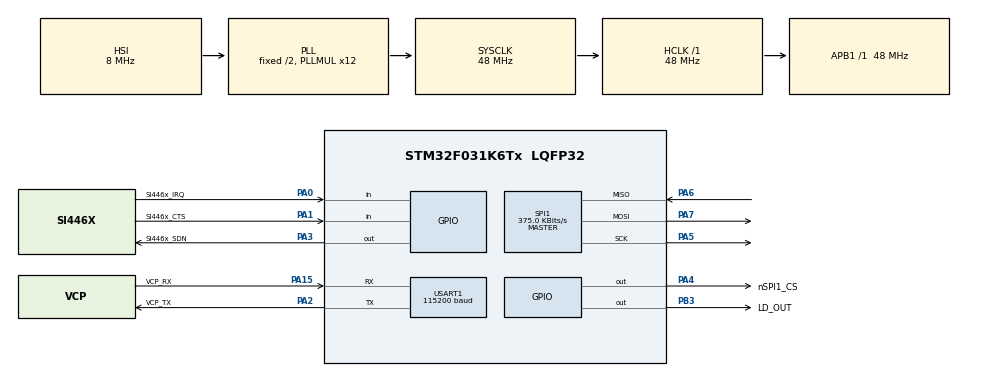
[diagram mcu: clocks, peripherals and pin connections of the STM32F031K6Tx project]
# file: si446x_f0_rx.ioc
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Dma.Request0=SPI1_RX
Dma.Request1=SPI1_TX
Dma.SPI1_RX.0.Direction=DMA_PERIPH_TO_MEMORY
Dma.SPI1_RX.0.Instance=DMA1_Channel2
Dma.SPI1_RX.0.MemDataAlignment=DMA_MDATAALIGN_BYTE
Dma.SPI1_RX.0.MemInc=DMA_MINC_ENABLE
Dma.SPI1_RX.0.Mode=DMA_NORMAL
Dma.SPI1_RX.0.PeriphDataAlignment=DMA_PDATAALIGN_BYTE
Dma.SPI1_RX.0.PeriphInc=DMA_PINC_DISABLE
Dma.SPI1_RX.0.Priority=DMA_PRIORITY_LOW
Dma.SPI1_TX.1.Direction=DMA_MEMORY_TO_PERIPH
Dma.SPI1_TX.1.Instance=DMA1_Channel3
Dma.SPI1_TX.1.MemDataAlignment=DMA_MDATAALIGN_BYTE
Dma.SPI1_TX.1.MemInc=DMA_MINC_ENABLE
Dma.SPI1_TX.1.Mode=DMA_NORMAL
Dma.SPI1_TX.1.PeriphDataAlignment=DMA_PDATAALIGN_BYTE
Dma.SPI1_TX.1.PeriphInc=DMA_PINC_DISABLE
Dma.SPI1_TX.1.Priority=DMA_PRIORITY_LOW
Mcu.Family=STM32F0
Mcu.Name=STM32F031K6Tx
Mcu.Package=LQFP32
NVIC.DMA1_Channel2_3_IRQn=true\:1\:0\:true\:false\:true\:false
PA0.GPIO_Label=SI446x_IRQ
PA0.GPIO_PuPd=GPIO_PULLUP
PA0.Signal=GPIO_Input
PA1.GPIO_Label=SI446x_CTS
PA1.GPIO_PuPd=GPIO_PULLUP
PA1.Signal=GPIO_Input
PA13.GPIO_Label=SWDIO
PA13.Mode=Serial_Wire
PA13.Signal=SYS_SWDIO
PA14.GPIO_Label=SWCLK
PA14.Mode=Serial_Wire
PA14.Signal=SYS_SWCLK
PA15.GPIO_Label=VCP_RX
PA15.Mode=Asynchronous
PA15.Signal=USART1_RX
PA2.GPIO_Label=VCP_TX
PA2.Mode=Asynchronous
PA2.Signal=USART1_TX
PA3.GPIO_Label=SI446x_SDN
PA3.Signal=GPIO_Output
PA4.GPIO_Label=nSPI1_CS
PA4.GPIO_PuPd=GPIO_PULLUP
PA4.Signal=GPIO_Output
PA5.GPIO_PuPd=GPIO_PULLUP
PA5.Mode=Full_Duplex_Master
PA5.Signal=SPI1_SCK
PA6.GPIO_PuPd=GPIO_PULLUP
PA6.Mode=Full_Duplex_Master
PA6.Signal=SPI1_MISO
PA7.GPIO_PuPd=GPIO_PULLUP
PA7.Mode=Full_Duplex_Master
PA7.Signal=SPI1_MOSI
PB3.GPIO_Label=LD_OUT
PB3.Signal=GPIO_Output
PF0-OSC_IN.Mode=HSE-External-Clock-Source
PF0-OSC_IN.Signal=RCC_OSC_IN
ProjectManager.HeapSize=0x300
ProjectManager.StackSize=0x500
ProjectManager.TargetToolchain=MDK-ARM V5
RCC.AHBFreq_Value=48000000
RCC.APB1Freq_Value=48000000
RCC.APB1TimFreq_Value=48000000
RCC.HCLKFreq_Value=48000000
RCC.PLLMUL=RCC_PLL_MUL12
RCC.SYSCLKFreq_VALUE=48000000
RCC.SYSCLKSource=RCC_SYSCLKSOURCE_PLLCLK
SPI1.BaudRatePrescaler=SPI_BAUDRATEPRESCALER_128
SPI1.CalculateBaudRate=375.0 KBits/s
SPI1.DataSize=SPI_DATASIZE_8BIT
SPI1.Direction=SPI_DIRECTION_2LINES
SPI1.Mode=SPI_MODE_MASTER
SPI1.VirtualType=VM_MASTER
USART1.BaudRate=115200
USART1.VirtualMode-Asynchronous=VM_ASYNC
board=NUCLEO-F031K6

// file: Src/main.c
/**
  ******************************************************************************
  * @file           : main.c
  * @brief          : Main program body
  ******************************************************************************
  ** This notice applies to any and all portions of this file
  * that are not between comment pairs USER CODE BEGIN and
  * USER CODE END. Other portions of this file, whether
  * inserted by the user or by software development tools
  * are owned by their respective copyright owners.
  *
  * COPYRIGHT(c) 2018 STMicroelectronics
  *
  * Redistribution and use in source and binary forms, with or without modification,
  * are permitted provided that the following conditions are met:
  *   1. Redistributions of source code must retain the above copyright notice,
  *      this list of conditions and the following disclaimer.
  *   2. Redistributions in binary form must reproduce the above copyright notice,
  *      this list of conditions and the following disclaimer in the documentation
  *      and/or other materials provided with the distribution.
  *   3. Neither the name of STMicroelectronics nor the names of its contributors
  *      may be used to endorse or promote products derived from this software
  *      without specific prior written permission.
  *
  * THIS SOFTWARE IS PROVIDED BY THE COPYRIGHT HOLDERS AND CONTRIBUTORS "AS IS"
  * AND ANY EXPRESS OR IMPLIED WARRANTIES, INCLUDING, BUT NOT LIMITED TO, THE
  * IMPLIED WARRANTIES OF MERCHANTABILITY AND FITNESS FOR A PARTICULAR PURPOSE ARE
  * DISCLAIMED. IN NO EVENT SHALL THE COPYRIGHT HOLDER OR CONTRIBUTORS BE LIABLE
  * FOR ANY DIRECT, INDIRECT, INCIDENTAL, SPECIAL, EXEMPLARY, OR CONSEQUENTIAL
  * DAMAGES (INCLUDING, BUT NOT LIMITED TO, PROCUREMENT OF SUBSTITUTE GOODS OR
  * SERVICES; LOSS OF USE, DATA, OR PROFITS; OR BUSINESS INTERRUPTION) HOWEVER
  * CAUSED AND ON ANY THEORY OF LIABILITY, WHETHER IN CONTRACT, STRICT LIABILITY,
  * OR TORT (INCLUDING NEGLIGENCE OR OTHERWISE) ARISING IN ANY WAY OUT OF THE USE
  * OF THIS SOFTWARE, EVEN IF ADVISED OF THE POSSIBILITY OF SUCH DAMAGE.
  *
  ******************************************************************************
  */
#include "main.h"
#include "stm32f0xx_hal.h"

/* USER CODE BEGIN Includes */
#include "string.h"
#include "radio_hal.h"
#include "radio.h"
/* USER CODE END Includes */

SPI_HandleTypeDef hspi1;
DMA_HandleTypeDef hdma_spi1_rx;
DMA_HandleTypeDef hdma_spi1_tx;

UART_HandleTypeDef huart1;

/* USER CODE BEGIN PV */
/* Private variables ---------------------------------------------------------*/

/* USER CODE END PV */

void SystemClock_Config(void);
static void MX_GPIO_Init(void);
static void MX_DMA_Init(void);
static void MX_USART1_UART_Init(void);
static void MX_SPI1_Init(void);

/* USER CODE BEGIN PFP */
/* Private function prototypes -----------------------------------------------*/

/* USER CODE END PFP */

/* USER CODE BEGIN 0 */
#ifdef __GNUC__
 #define PUTCHAR_PROTOTYPE int __io_putchar(int ch)
#else
 #define PUTCHAR_PROTOTYPE int fputc(int ch, FILE *f)
#endif

PUTCHAR_PROTOTYPE
{
 HAL_UART_Transmit(&huart1, (uint8_t *)&ch, 1, 1);
 return ch;
}
/* USER CODE END 0 */

int main(void)
{

  /* MCU Configuration----------------------------------------------------------*/

  /* Reset of all peripherals, Initializes the Flash interface and the Systick. */
  HAL_Init();

  /* Configure the system clock */
  SystemClock_Config();

  /* Initialize all configured peripherals */
  MX_GPIO_Init();
  MX_DMA_Init();
  MX_USART1_UART_Init();
  MX_SPI1_Init();
  /* USER CODE BEGIN 2 */
	HAL_Delay(500);
	printf("this test is stm32f031 spi RF Rx test~!!\r\n");
	vRadio_Init();

  // Start RX
  vRadio_StartRX(pRadioConfiguration->Radio_ChannelNumber);

  /* USER CODE END 2 */

  /* Infinite loop */
  /* USER CODE BEGIN WHILE */
  while (1)
  {
		//HAL_GPIO_TogglePin(LD_OUT_GPIO_Port,LD_OUT_Pin);
		//printf("uart1 out?\r\n");
		//HAL_Delay(100);
  if (TRUE == gRadio_CheckReceived())
	{
		if(fixRadioPacket[0] == 'r')
		{
			printf("%s\r\n",fixRadioPacket);
			fixRadioPacket[0] = '\0';
		}
	}
  /* USER CODE END WHILE */

  }

}

void SystemClock_Config(void)
{

  RCC_OscInitTypeDef RCC_OscInitStruct;
  RCC_ClkInitTypeDef RCC_ClkInitStruct;
  RCC_PeriphCLKInitTypeDef PeriphClkInit;

    /**Initializes the CPU, AHB and APB busses clocks
    */
  RCC_OscInitStruct.OscillatorType = RCC_OSCILLATORTYPE_HSI;
  RCC_OscInitStruct.HSIState = RCC_HSI_ON;
  RCC_OscInitStruct.HSICalibrationValue = 16;
  RCC_OscInitStruct.PLL.PLLState = RCC_PLL_ON;
  RCC_OscInitStruct.PLL.PLLSource = RCC_PLLSOURCE_HSI;
  RCC_OscInitStruct.PLL.PLLMUL = RCC_PLL_MUL12;
  RCC_OscInitStruct.PLL.PREDIV = RCC_PREDIV_DIV1;
  if (HAL_RCC_OscConfig(&RCC_OscInitStruct) != HAL_OK)
  {
    _Error_Handler(__FILE__, __LINE__);
  }

    /**Initializes the CPU, AHB and APB busses clocks
    */
  RCC_ClkInitStruct.ClockType = RCC_CLOCKTYPE_HCLK|RCC_CLOCKTYPE_SYSCLK
                              |RCC_CLOCKTYPE_PCLK1;
  RCC_ClkInitStruct.SYSCLKSource = RCC_SYSCLKSOURCE_PLLCLK;
  RCC_ClkInitStruct.AHBCLKDivider = RCC_SYSCLK_DIV1;
  RCC_ClkInitStruct.APB1CLKDivider = RCC_HCLK_DIV1;

  if (HAL_RCC_ClockConfig(&RCC_ClkInitStruct, FLASH_LATENCY_1) != HAL_OK)
  {
    _Error_Handler(__FILE__, __LINE__);
  }

  PeriphClkInit.PeriphClockSelection = RCC_PERIPHCLK_USART1;
  PeriphClkInit.Usart1ClockSelection = RCC_USART1CLKSOURCE_PCLK1;
  if (HAL_RCCEx_PeriphCLKConfig(&PeriphClkInit) != HAL_OK)
  {
    _Error_Handler(__FILE__, __LINE__);
  }

    /**Configure the Systick interrupt time
    */
  HAL_SYSTICK_Config(HAL_RCC_GetHCLKFreq()/1000);

    /**Configure the Systick
    */
  HAL_SYSTICK_CLKSourceConfig(SYSTICK_CLKSOURCE_HCLK);

  /* SysTick_IRQn interrupt configuration */
  HAL_NVIC_SetPriority(SysTick_IRQn, 0, 0);
}

/* SPI1 init function */
static void MX_SPI1_Init(void)
{

  /* SPI1 parameter configuration*/
  hspi1.Instance = SPI1;
  hspi1.Init.Mode = SPI_MODE_MASTER;
  hspi1.Init.Direction = SPI_DIRECTION_2LINES;
  hspi1.Init.DataSize = SPI_DATASIZE_8BIT;
  hspi1.Init.CLKPolarity = SPI_POLARITY_LOW;
  hspi1.Init.CLKPhase = SPI_PHASE_1EDGE;
  hspi1.Init.NSS = SPI_NSS_SOFT;
  hspi1.Init.BaudRatePrescaler = SPI_BAUDRATEPRESCALER_128;
  hspi1.Init.FirstBit = SPI_FIRSTBIT_MSB;
  hspi1.Init.TIMode = SPI_TIMODE_DISABLE;
  hspi1.Init.CRCCalculation = SPI_CRCCALCULATION_DISABLE;
  hspi1.Init.CRCPolynomial = 7;
  hspi1.Init.CRCLength = SPI_CRC_LENGTH_DATASIZE;
  hspi1.Init.NSSPMode = SPI_NSS_PULSE_ENABLE;
  if (HAL_SPI_Init(&hspi1) != HAL_OK)
  {
    _Error_Handler(__FILE__, __LINE__);
  }

}

/* USART1 init function */
static void MX_USART1_UART_Init(void)
{

  huart1.Instance = USART1;
  huart1.Init.BaudRate = 115200;
  huart1.Init.WordLength = UART_WORDLENGTH_8B;
  huart1.Init.StopBits = UART_STOPBITS_1;
  huart1.Init.Parity = UART_PARITY_NONE;
  huart1.Init.Mode = UART_MODE_TX_RX;
  huart1.Init.HwFlowCtl = UART_HWCONTROL_NONE;
  huart1.Init.OverSampling = UART_OVERSAMPLING_16;
  huart1.Init.OneBitSampling = UART_ONE_BIT_SAMPLE_DISABLE;
  huart1.AdvancedInit.AdvFeatureInit = UART_ADVFEATURE_NO_INIT;
  if (HAL_UART_Init(&huart1) != HAL_OK)
  {
    _Error_Handler(__FILE__, __LINE__);
  }

}

static void MX_DMA_Init(void)
{
  /* DMA controller clock enable */
  __HAL_RCC_DMA1_CLK_ENABLE();

  /* DMA interrupt init */
  /* DMA1_Channel2_3_IRQn interrupt configuration */
  HAL_NVIC_SetPriority(DMA1_Channel2_3_IRQn, 1, 0);
  HAL_NVIC_EnableIRQ(DMA1_Channel2_3_IRQn);

}

/** Configure pins as
        * Analog
        * Input
        * Output
        * EVENT_OUT
        * EXTI
*/
static void MX_GPIO_Init(void)
{

  GPIO_InitTypeDef GPIO_InitStruct;

  /* GPIO Ports Clock Enable */
  __HAL_RCC_GPIOF_CLK_ENABLE();
  __HAL_RCC_GPIOA_CLK_ENABLE();
  __HAL_RCC_GPIOB_CLK_ENABLE();

  /*Configure GPIO pin Output Level */
  HAL_GPIO_WritePin(GPIOA, SI446x_SDN_Pin|nSPI1_CS_Pin, GPIO_PIN_RESET);

  /*Configure GPIO pin Output Level */
  HAL_GPIO_WritePin(LD_OUT_GPIO_Port, LD_OUT_Pin, GPIO_PIN_RESET);

  /*Configure GPIO pins : SI446x_IRQ_Pin SI446x_CTS_Pin */
  GPIO_InitStruct.Pin = SI446x_IRQ_Pin|SI446x_CTS_Pin;
  GPIO_InitStruct.Mode = GPIO_MODE_INPUT;
  GPIO_InitStruct.Pull = GPIO_PULLUP;
  HAL_GPIO_Init(GPIOA, &GPIO_InitStruct);

  /*Configure GPIO pin : SI446x_SDN_Pin */
  GPIO_InitStruct.Pin = SI446x_SDN_Pin;
  GPIO_InitStruct.Mode = GPIO_MODE_OUTPUT_PP;
  GPIO_InitStruct.Pull = GPIO_NOPULL;
  GPIO_InitStruct.Speed = GPIO_SPEED_FREQ_LOW;
  HAL_GPIO_Init(SI446x_SDN_GPIO_Port, &GPIO_InitStruct);

  /*Configure GPIO pin : nSPI1_CS_Pin */
  GPIO_InitStruct.Pin = nSPI1_CS_Pin;
  GPIO_InitStruct.Mode = GPIO_MODE_OUTPUT_PP;
  GPIO_InitStruct.Pull = GPIO_PULLUP;
  GPIO_InitStruct.Speed = GPIO_SPEED_FREQ_LOW;
  HAL_GPIO_Init(nSPI1_CS_GPIO_Port, &GPIO_InitStruct);

  /*Configure GPIO pin : LD_OUT_Pin */
  GPIO_InitStruct.Pin = LD_OUT_Pin;
  GPIO_InitStruct.Mode = GPIO_MODE_OUTPUT_PP;
  GPIO_InitStruct.Pull = GPIO_NOPULL;
  GPIO_InitStruct.Speed = GPIO_SPEED_FREQ_LOW;
  HAL_GPIO_Init(LD_OUT_GPIO_Port, &GPIO_InitStruct);

}

void _Error_Handler(char *file, int line)
{
  while(1)
  {
  }
}

/************************ (C) COPYRIGHT STMicroelectronics *****END OF FILE****/
